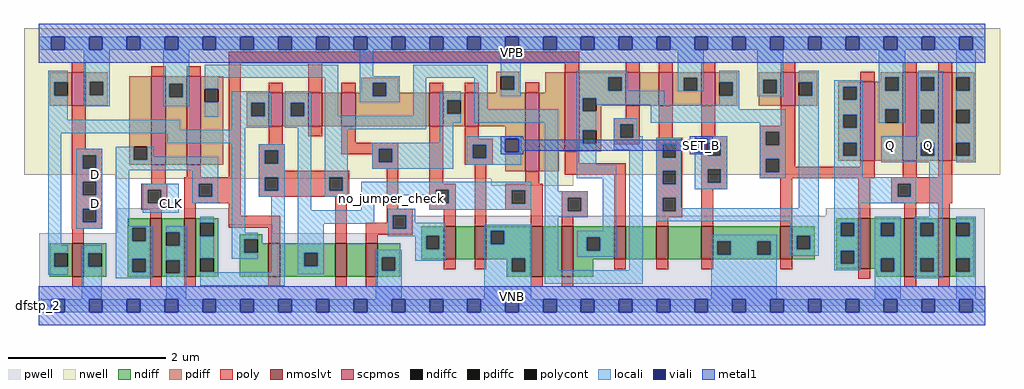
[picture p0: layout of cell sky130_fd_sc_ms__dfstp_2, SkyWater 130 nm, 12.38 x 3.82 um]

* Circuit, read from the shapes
.subckt sky130_fd_sc_ms__dfstp_2 CLK D SET_B VGND VNB VPB VPWR Q
XM1 VGND D n1 VNB sky130_fd_pr__nfet_01v8_lvt w=0.42 l=0.15
XM2 VGND CLK n2 VNB sky130_fd_pr__nfet_01v8_lvt w=0.74 l=0.15
XM3 n3 n2 VGND VNB sky130_fd_pr__nfet_01v8_lvt w=0.74 l=0.15
XM4 n4 n2 n1 VNB sky130_fd_pr__nfet_01v8_lvt w=0.42 l=0.15
XM5 n5 n3 n4 VNB sky130_fd_pr__nfet_01v8_lvt w=0.42 l=0.15
XM6 VGND n6 n5 VNB sky130_fd_pr__nfet_01v8_lvt w=0.42 l=0.15
XM7 n7 n4 n6 VNB sky130_fd_pr__nfet_01v8_lvt w=0.42 l=0.15
XM8 VGND SET_B n7 VNB sky130_fd_pr__nfet_01v8_lvt w=0.42 l=0.15
XM9 n8 n4 VGND VNB sky130_fd_pr__nfet_01v8_lvt w=0.64 l=0.15
XM10 n9 n3 n8 VNB sky130_fd_pr__nfet_01v8_lvt w=0.64 l=0.15
XM11 n10 n2 n9 VNB sky130_fd_pr__nfet_01v8_lvt w=0.42 l=0.15
XM12 n11 n12 n10 VNB sky130_fd_pr__nfet_01v8_lvt w=0.42 l=0.15
XM13 VGND SET_B n11 VNB sky130_fd_pr__nfet_01v8_lvt w=0.42 l=0.15
XM14 n12 n9 VGND VNB sky130_fd_pr__nfet_01v8_lvt w=0.42 l=0.15
XM15 VGND n9 n13 VNB sky130_fd_pr__nfet_01v8_lvt w=0.64 l=0.15
XM16 Q n13 VGND VNB sky130_fd_pr__nfet_01v8_lvt w=0.74 l=0.15 m=2
XM17 VPWR D n1 VPB sky130_fd_pr__pfet_01v8 w=0.42 l=0.18
XM18 VPWR CLK n2 VPB sky130_fd_pr__pfet_01v8 w=1.12 l=0.18
XM19 n3 n2 VPWR VPB sky130_fd_pr__pfet_01v8 w=1.12 l=0.18
XM20 n4 n3 n1 VPB sky130_fd_pr__pfet_01v8 w=0.42 l=0.18
XM21 n14 n2 n4 VPB sky130_fd_pr__pfet_01v8 w=0.42 l=0.18
XM22 VPWR n6 n14 VPB sky130_fd_pr__pfet_01v8 w=0.42 l=0.18
XM23 n6 n4 VPWR VPB sky130_fd_pr__pfet_01v8 w=0.42 l=0.18
XM24 VPWR SET_B n6 VPB sky130_fd_pr__pfet_01v8 w=0.42 l=0.18
XM25 n15 n4 VPWR VPB sky130_fd_pr__pfet_01v8 w=1 l=0.18
XM26 n9 n2 n15 VPB sky130_fd_pr__pfet_01v8 w=1 l=0.18
XM27 n16 n3 n9 VPB sky130_fd_pr__pfet_01v8 w=0.42 l=0.18
XM28 VPWR n12 n16 VPB sky130_fd_pr__pfet_01v8 w=0.42 l=0.18
XM29 n9 SET_B VPWR VPB sky130_fd_pr__pfet_01v8 w=0.42 l=0.18
XM30 n12 n9 VPWR VPB sky130_fd_pr__pfet_01v8 w=0.42 l=0.18
XM31 VPWR n9 n13 VPB sky130_fd_pr__pfet_01v8 w=1 l=0.18
XM32 Q n13 VPWR VPB sky130_fd_pr__pfet_01v8 w=1.12 l=0.18 m=2
.ends

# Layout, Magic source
magic
tech sky130A
magscale 1 2
<< nwell >>
rect -38 332 2438 704
rect 193 322 1355 332
rect 1147 305 1355 322
<< pwell >>
rect 199 207 481 248
rect 1996 228 2399 248
rect 199 184 593 207
rect 944 184 2399 228
rect 1 49 2399 184
rect 0 0 2400 49
<< scpmos >>
rect 83 508 119 592
rect 285 358 321 582
rect 375 358 411 582
rect 583 456 619 540
rect 683 456 719 540
rect 767 456 803 540
rect 990 456 1026 540
rect 1080 456 1116 540
rect 1233 341 1269 541
rect 1334 392 1370 592
rect 1488 508 1524 592
rect 1572 508 1608 592
rect 1680 508 1716 592
rect 1882 508 1918 592
rect 2084 368 2120 568
rect 2191 368 2227 592
rect 2281 368 2317 592
<< nmoslvt >>
rect 84 74 114 158
rect 282 74 312 222
rect 368 74 398 222
rect 582 74 612 158
rect 751 74 781 158
rect 829 74 859 158
rect 1027 118 1057 202
rect 1105 118 1135 202
rect 1248 74 1278 202
rect 1326 74 1356 202
rect 1459 118 1489 202
rect 1566 118 1596 202
rect 1680 118 1710 202
rect 1881 118 1911 202
rect 2079 94 2109 222
rect 2195 74 2225 222
rect 2281 74 2311 222
<< ndiff >>
rect 225 198 282 222
rect 225 164 237 198
rect 271 164 282 198
rect 27 133 84 158
rect 27 99 39 133
rect 73 99 84 133
rect 27 74 84 99
rect 114 133 171 158
rect 114 99 125 133
rect 159 99 171 133
rect 114 74 171 99
rect 225 119 282 164
rect 225 85 237 119
rect 271 85 282 119
rect 225 74 282 85
rect 312 186 368 222
rect 312 152 323 186
rect 357 152 368 186
rect 312 116 368 152
rect 312 82 323 116
rect 357 82 368 116
rect 312 74 368 82
rect 398 210 455 222
rect 398 176 409 210
rect 443 176 455 210
rect 398 120 455 176
rect 398 86 409 120
rect 443 86 455 120
rect 398 74 455 86
rect 509 169 567 181
rect 509 135 521 169
rect 555 158 567 169
rect 2022 210 2079 222
rect 970 177 1027 202
rect 555 135 582 158
rect 509 74 582 135
rect 612 134 751 158
rect 612 100 673 134
rect 707 100 751 134
rect 612 74 751 100
rect 781 74 829 158
rect 859 123 916 158
rect 859 89 870 123
rect 904 89 916 123
rect 970 143 982 177
rect 1016 143 1027 177
rect 970 118 1027 143
rect 1057 118 1105 202
rect 1135 190 1248 202
rect 1135 156 1146 190
rect 1180 156 1248 190
rect 1135 120 1248 156
rect 1135 118 1199 120
rect 859 74 916 89
rect 1187 86 1199 118
rect 1233 86 1248 120
rect 1187 74 1248 86
rect 1278 74 1326 202
rect 1356 174 1459 202
rect 1356 140 1390 174
rect 1424 140 1459 174
rect 1356 118 1459 140
rect 1489 118 1566 202
rect 1596 118 1680 202
rect 1710 164 1881 202
rect 1710 130 1721 164
rect 1755 130 1822 164
rect 1856 130 1881 164
rect 1710 118 1881 130
rect 1911 177 1968 202
rect 1911 143 1922 177
rect 1956 143 1968 177
rect 1911 118 1968 143
rect 2022 176 2034 210
rect 2068 176 2079 210
rect 2022 140 2079 176
rect 1356 74 1406 118
rect 2022 106 2034 140
rect 2068 106 2079 140
rect 2022 94 2079 106
rect 2109 210 2195 222
rect 2109 176 2136 210
rect 2170 176 2195 210
rect 2109 120 2195 176
rect 2109 94 2136 120
rect 2124 86 2136 94
rect 2170 86 2195 120
rect 2124 74 2195 86
rect 2225 210 2281 222
rect 2225 176 2236 210
rect 2270 176 2281 210
rect 2225 120 2281 176
rect 2225 86 2236 120
rect 2270 86 2281 120
rect 2225 74 2281 86
rect 2311 210 2373 222
rect 2311 176 2327 210
rect 2361 176 2373 210
rect 2311 120 2373 176
rect 2311 86 2327 120
rect 2361 86 2373 120
rect 2311 74 2373 86
<< pdiff >>
rect 27 567 83 592
rect 27 533 39 567
rect 73 533 83 567
rect 27 508 83 533
rect 119 568 175 592
rect 119 534 129 568
rect 163 534 175 568
rect 119 508 175 534
rect 229 404 285 582
rect 229 370 241 404
rect 275 370 285 404
rect 229 358 285 370
rect 321 563 375 582
rect 321 529 331 563
rect 365 529 375 563
rect 321 358 375 529
rect 411 550 467 582
rect 411 516 421 550
rect 455 516 467 550
rect 411 358 467 516
rect 1160 582 1218 594
rect 818 566 911 578
rect 818 540 847 566
rect 527 515 583 540
rect 527 481 539 515
rect 573 481 583 515
rect 527 456 583 481
rect 619 515 683 540
rect 619 481 639 515
rect 673 481 683 515
rect 619 456 683 481
rect 719 456 767 540
rect 803 532 847 540
rect 881 540 911 566
rect 1160 548 1172 582
rect 1206 548 1218 582
rect 1160 541 1218 548
rect 1284 541 1334 592
rect 1160 540 1233 541
rect 881 532 990 540
rect 803 456 990 532
rect 1026 521 1080 540
rect 1026 487 1036 521
rect 1070 487 1080 521
rect 1026 456 1080 487
rect 1116 456 1233 540
rect 1183 341 1233 456
rect 1269 392 1334 541
rect 1370 580 1488 592
rect 1370 546 1444 580
rect 1478 546 1488 580
rect 1370 527 1488 546
rect 1370 493 1380 527
rect 1414 508 1488 527
rect 1524 508 1572 592
rect 1608 579 1680 592
rect 1608 545 1636 579
rect 1670 545 1680 579
rect 1608 508 1680 545
rect 1716 567 1772 592
rect 1716 533 1726 567
rect 1760 533 1772 567
rect 1716 508 1772 533
rect 1826 573 1882 592
rect 1826 539 1838 573
rect 1872 539 1882 573
rect 1826 508 1882 539
rect 1918 567 1974 592
rect 2135 580 2191 592
rect 2135 568 2147 580
rect 1918 533 1928 567
rect 1962 533 1974 567
rect 1918 508 1974 533
rect 2028 556 2084 568
rect 2028 522 2040 556
rect 2074 522 2084 556
rect 1414 493 1426 508
rect 1370 445 1426 493
rect 1370 411 1380 445
rect 1414 411 1426 445
rect 1370 392 1426 411
rect 1269 341 1319 392
rect 2028 485 2084 522
rect 2028 451 2040 485
rect 2074 451 2084 485
rect 2028 414 2084 451
rect 2028 380 2040 414
rect 2074 380 2084 414
rect 2028 368 2084 380
rect 2120 546 2147 568
rect 2181 546 2191 580
rect 2120 498 2191 546
rect 2120 464 2147 498
rect 2181 464 2191 498
rect 2120 368 2191 464
rect 2227 580 2281 592
rect 2227 546 2237 580
rect 2271 546 2281 580
rect 2227 497 2281 546
rect 2227 463 2237 497
rect 2271 463 2281 497
rect 2227 414 2281 463
rect 2227 380 2237 414
rect 2271 380 2281 414
rect 2227 368 2281 380
rect 2317 580 2373 592
rect 2317 546 2327 580
rect 2361 546 2373 580
rect 2317 497 2373 546
rect 2317 463 2327 497
rect 2361 463 2373 497
rect 2317 414 2373 463
rect 2317 380 2327 414
rect 2361 380 2373 414
rect 2317 368 2373 380
<< ndiffc >>
rect 237 164 271 198
rect 39 99 73 133
rect 125 99 159 133
rect 237 85 271 119
rect 323 152 357 186
rect 323 82 357 116
rect 409 176 443 210
rect 409 86 443 120
rect 521 135 555 169
rect 673 100 707 134
rect 870 89 904 123
rect 982 143 1016 177
rect 1146 156 1180 190
rect 1199 86 1233 120
rect 1390 140 1424 174
rect 1721 130 1755 164
rect 1822 130 1856 164
rect 1922 143 1956 177
rect 2034 176 2068 210
rect 2034 106 2068 140
rect 2136 176 2170 210
rect 2136 86 2170 120
rect 2236 176 2270 210
rect 2236 86 2270 120
rect 2327 176 2361 210
rect 2327 86 2361 120
<< pdiffc >>
rect 39 533 73 567
rect 129 534 163 568
rect 241 370 275 404
rect 331 529 365 563
rect 421 516 455 550
rect 539 481 573 515
rect 639 481 673 515
rect 847 532 881 566
rect 1172 548 1206 582
rect 1036 487 1070 521
rect 1444 546 1478 580
rect 1380 493 1414 527
rect 1636 545 1670 579
rect 1726 533 1760 567
rect 1838 539 1872 573
rect 1928 533 1962 567
rect 2040 522 2074 556
rect 1380 411 1414 445
rect 2040 451 2074 485
rect 2040 380 2074 414
rect 2147 546 2181 580
rect 2147 464 2181 498
rect 2237 546 2271 580
rect 2237 463 2271 497
rect 2237 380 2271 414
rect 2327 546 2361 580
rect 2327 463 2361 497
rect 2327 380 2361 414
<< poly >>
rect 83 592 119 618
rect 482 615 1370 645
rect 285 582 321 608
rect 375 582 411 608
rect 83 398 119 508
rect 83 382 161 398
rect 83 348 111 382
rect 145 348 161 382
rect 83 314 161 348
rect 83 280 111 314
rect 145 280 161 314
rect 285 310 321 358
rect 375 326 411 358
rect 482 326 512 615
rect 583 540 619 566
rect 683 540 719 615
rect 1334 592 1370 615
rect 1488 592 1524 618
rect 1572 592 1608 618
rect 1680 592 1716 618
rect 1882 592 1918 618
rect 767 540 803 566
rect 990 540 1026 566
rect 1080 540 1116 566
rect 1233 541 1269 567
rect 583 410 619 456
rect 683 430 719 456
rect 767 414 803 456
rect 368 310 512 326
rect 83 246 161 280
rect 83 212 111 246
rect 145 212 161 246
rect 260 294 326 310
rect 260 260 276 294
rect 310 260 326 294
rect 260 244 326 260
rect 368 276 405 310
rect 439 276 512 310
rect 557 394 623 410
rect 557 360 573 394
rect 607 360 623 394
rect 767 398 912 414
rect 767 384 862 398
rect 557 342 623 360
rect 846 364 862 384
rect 896 364 912 398
rect 846 348 912 364
rect 557 326 787 342
rect 557 292 573 326
rect 607 292 737 326
rect 771 292 787 326
rect 557 276 787 292
rect 368 260 512 276
rect 282 222 312 244
rect 368 222 398 260
rect 482 228 512 260
rect 83 196 161 212
rect 84 158 114 196
rect 482 198 612 228
rect 582 158 612 198
rect 751 158 781 276
rect 882 246 912 348
rect 990 310 1026 456
rect 1080 424 1116 456
rect 1080 408 1151 424
rect 1080 374 1101 408
rect 1135 374 1151 408
rect 1080 358 1151 374
rect 990 294 1057 310
rect 990 260 1006 294
rect 1040 260 1057 294
rect 882 230 948 246
rect 990 244 1057 260
rect 882 210 898 230
rect 829 196 898 210
rect 932 196 948 230
rect 1027 202 1057 244
rect 1105 202 1135 358
rect 2084 568 2120 594
rect 2191 592 2227 618
rect 2281 592 2317 618
rect 1488 476 1524 508
rect 1458 460 1524 476
rect 1458 426 1474 460
rect 1508 426 1524 460
rect 1572 426 1608 508
rect 1680 430 1716 508
rect 1882 457 1918 508
rect 1828 441 1918 457
rect 1458 410 1524 426
rect 1566 410 1632 426
rect 1334 362 1370 392
rect 1566 376 1582 410
rect 1616 376 1632 410
rect 1233 309 1269 341
rect 1334 332 1489 362
rect 1183 293 1278 309
rect 1183 259 1199 293
rect 1233 259 1278 293
rect 1183 243 1278 259
rect 1248 202 1278 243
rect 1326 274 1392 290
rect 1326 240 1342 274
rect 1376 240 1392 274
rect 1326 224 1392 240
rect 1326 202 1356 224
rect 1459 202 1489 332
rect 1566 342 1632 376
rect 1566 308 1582 342
rect 1616 308 1632 342
rect 1566 274 1632 308
rect 1566 240 1582 274
rect 1616 240 1632 274
rect 1566 224 1632 240
rect 1680 414 1746 430
rect 1680 380 1696 414
rect 1730 380 1746 414
rect 1680 346 1746 380
rect 1680 312 1696 346
rect 1730 312 1746 346
rect 1828 407 1844 441
rect 1878 407 1918 441
rect 1828 373 1918 407
rect 1828 339 1844 373
rect 1878 353 1918 373
rect 2084 353 2120 368
rect 1878 339 2120 353
rect 1828 323 2120 339
rect 2191 326 2227 368
rect 2281 326 2317 368
rect 1680 296 1746 312
rect 1566 202 1596 224
rect 1680 202 1710 296
rect 1881 202 1911 323
rect 2079 222 2109 323
rect 2162 310 2317 326
rect 2162 276 2178 310
rect 2212 276 2317 310
rect 2162 260 2317 276
rect 2195 222 2225 260
rect 2281 222 2311 260
rect 829 180 948 196
rect 829 158 859 180
rect 1027 92 1057 118
rect 1105 92 1135 118
rect 1459 92 1489 118
rect 1566 92 1596 118
rect 1680 92 1710 118
rect 1881 92 1911 118
rect 84 48 114 74
rect 282 48 312 74
rect 368 48 398 74
rect 582 48 612 74
rect 751 48 781 74
rect 829 48 859 74
rect 1248 48 1278 74
rect 1326 48 1356 74
rect 2079 68 2109 94
rect 2195 48 2225 74
rect 2281 48 2311 74
<< polycont >>
rect 111 348 145 382
rect 111 280 145 314
rect 111 212 145 246
rect 276 260 310 294
rect 405 276 439 310
rect 573 360 607 394
rect 862 364 896 398
rect 573 292 607 326
rect 737 292 771 326
rect 1101 374 1135 408
rect 1006 260 1040 294
rect 898 196 932 230
rect 1474 426 1508 460
rect 1582 376 1616 410
rect 1199 259 1233 293
rect 1342 240 1376 274
rect 1582 308 1616 342
rect 1582 240 1616 274
rect 1696 380 1730 414
rect 1696 312 1730 346
rect 1844 407 1878 441
rect 1844 339 1878 373
rect 2178 276 2212 310
<< locali >>
rect 0 649 31 683
rect 65 649 127 683
rect 161 649 223 683
rect 257 649 319 683
rect 353 649 415 683
rect 449 649 511 683
rect 545 649 607 683
rect 641 649 703 683
rect 737 649 799 683
rect 833 649 895 683
rect 929 649 991 683
rect 1025 649 1087 683
rect 1121 649 1183 683
rect 1217 649 1279 683
rect 1313 649 1375 683
rect 1409 649 1471 683
rect 1505 649 1567 683
rect 1601 649 1663 683
rect 1697 649 1759 683
rect 1793 649 1855 683
rect 1889 649 1951 683
rect 1985 649 2047 683
rect 2081 649 2143 683
rect 2177 649 2239 683
rect 2273 649 2335 683
rect 2369 649 2400 683
rect 23 567 73 596
rect 23 533 39 567
rect 23 472 73 533
rect 113 568 179 649
rect 113 534 129 568
rect 163 534 179 568
rect 113 506 179 534
rect 315 563 381 649
rect 315 529 331 563
rect 365 529 381 563
rect 315 506 381 529
rect 421 578 759 612
rect 421 550 455 578
rect 421 480 455 516
rect 489 515 589 544
rect 489 481 539 515
rect 573 481 589 515
rect 23 446 359 472
rect 489 452 589 481
rect 623 515 691 544
rect 623 481 639 515
rect 673 481 691 515
rect 623 452 691 481
rect 489 446 523 452
rect 23 438 523 446
rect 23 153 57 438
rect 325 412 523 438
rect 95 382 161 398
rect 95 348 111 382
rect 145 348 161 382
rect 95 314 161 348
rect 95 280 111 314
rect 145 280 161 314
rect 95 246 161 280
rect 95 212 111 246
rect 145 212 161 246
rect 95 196 161 212
rect 195 370 241 404
rect 275 378 291 404
rect 275 370 455 378
rect 195 344 455 370
rect 195 202 229 344
rect 389 310 455 344
rect 263 294 355 310
rect 263 260 276 294
rect 310 260 355 294
rect 389 276 405 310
rect 439 276 455 310
rect 389 260 455 276
rect 263 236 355 260
rect 409 210 443 226
rect 195 198 287 202
rect 195 164 237 198
rect 271 164 287 198
rect 23 133 73 153
rect 23 99 39 133
rect 23 79 73 99
rect 109 133 159 153
rect 109 99 125 133
rect 109 17 159 99
rect 195 119 287 164
rect 195 85 237 119
rect 271 85 287 119
rect 195 70 287 85
rect 323 186 373 202
rect 357 152 373 186
rect 323 116 373 152
rect 357 82 373 116
rect 323 17 373 82
rect 409 120 443 176
rect 489 185 523 412
rect 557 394 623 410
rect 557 360 573 394
rect 607 360 623 394
rect 557 326 623 360
rect 557 292 573 326
rect 607 292 623 326
rect 557 276 623 292
rect 489 169 555 185
rect 489 135 521 169
rect 489 119 555 135
rect 409 85 443 86
rect 589 85 623 276
rect 409 51 623 85
rect 657 242 691 452
rect 725 482 759 578
rect 814 582 848 649
rect 814 566 915 582
rect 814 532 847 566
rect 881 532 915 566
rect 814 516 915 532
rect 949 578 1138 612
rect 949 482 983 578
rect 725 448 983 482
rect 1017 521 1070 544
rect 1017 487 1036 521
rect 1017 464 1070 487
rect 1104 498 1138 578
rect 1172 582 1222 649
rect 1206 548 1222 582
rect 1172 532 1222 548
rect 1364 580 1494 596
rect 1364 546 1444 580
rect 1478 546 1494 580
rect 1620 579 1686 649
rect 1364 527 1586 546
rect 1620 545 1636 579
rect 1670 545 1686 579
rect 1620 544 1686 545
rect 1726 567 1776 596
rect 1104 464 1317 498
rect 725 326 783 448
rect 1017 414 1051 464
rect 846 398 1051 414
rect 846 364 862 398
rect 896 364 1051 398
rect 846 348 1051 364
rect 1085 424 1223 430
rect 1085 408 1183 424
rect 1085 374 1101 408
rect 1135 390 1183 408
rect 1217 390 1223 424
rect 1135 374 1223 390
rect 1085 358 1223 374
rect 725 292 737 326
rect 771 292 783 326
rect 725 276 783 292
rect 817 294 1249 314
rect 817 280 1006 294
rect 817 242 851 280
rect 990 260 1006 280
rect 1040 293 1249 294
rect 1040 260 1199 293
rect 990 259 1199 260
rect 1233 259 1249 293
rect 657 208 851 242
rect 885 230 954 246
rect 990 244 1249 259
rect 1183 243 1249 244
rect 1283 290 1317 464
rect 1364 493 1380 527
rect 1414 510 1586 527
rect 1760 533 1776 567
rect 1726 510 1776 533
rect 1822 573 1888 649
rect 1822 539 1838 573
rect 1872 539 1888 573
rect 1822 532 1888 539
rect 1928 567 1978 596
rect 2131 580 2197 649
rect 1962 533 1978 567
rect 1364 445 1414 493
rect 1552 498 1776 510
rect 1364 411 1380 445
rect 1364 358 1414 411
rect 1458 460 1518 476
rect 1552 464 1894 498
rect 1458 426 1474 460
rect 1508 430 1518 460
rect 1828 441 1894 464
rect 1508 426 1532 430
rect 1458 396 1532 426
rect 1364 324 1464 358
rect 1283 274 1392 290
rect 657 134 723 208
rect 885 196 898 230
rect 932 210 954 230
rect 1283 240 1342 274
rect 1376 240 1392 274
rect 1283 224 1392 240
rect 932 196 1032 210
rect 885 177 1032 196
rect 885 176 982 177
rect 954 143 982 176
rect 1016 143 1032 177
rect 657 100 673 134
rect 707 100 723 134
rect 657 80 723 100
rect 854 123 920 142
rect 854 89 870 123
rect 904 89 920 123
rect 954 114 1032 143
rect 1130 190 1249 206
rect 1130 156 1146 190
rect 1180 156 1249 190
rect 1130 120 1249 156
rect 854 17 920 89
rect 1130 86 1199 120
rect 1233 86 1249 120
rect 1130 17 1249 86
rect 1283 90 1317 224
rect 1430 190 1464 324
rect 1365 174 1464 190
rect 1365 140 1390 174
rect 1424 140 1464 174
rect 1365 124 1464 140
rect 1498 90 1532 396
rect 1566 410 1629 426
rect 1566 376 1582 410
rect 1616 376 1629 410
rect 1566 342 1629 376
rect 1566 308 1582 342
rect 1616 308 1629 342
rect 1566 274 1629 308
rect 1663 424 1746 430
rect 1697 414 1746 424
rect 1663 380 1696 390
rect 1730 380 1746 414
rect 1663 346 1746 380
rect 1663 312 1696 346
rect 1730 312 1746 346
rect 1828 407 1844 441
rect 1878 407 1894 441
rect 1828 373 1894 407
rect 1828 339 1844 373
rect 1878 339 1894 373
rect 1828 323 1894 339
rect 1663 296 1746 312
rect 1566 240 1582 274
rect 1616 248 1629 274
rect 1928 248 1978 533
rect 1616 240 1978 248
rect 1566 214 1978 240
rect 1283 56 1532 90
rect 1705 164 1872 180
rect 1705 130 1721 164
rect 1755 130 1822 164
rect 1856 130 1872 164
rect 1705 17 1872 130
rect 1906 177 1978 214
rect 1906 143 1922 177
rect 1956 143 1978 177
rect 1906 127 1978 143
rect 2018 556 2090 572
rect 2018 522 2040 556
rect 2074 522 2090 556
rect 2018 485 2090 522
rect 2018 451 2040 485
rect 2074 451 2090 485
rect 2131 546 2147 580
rect 2181 546 2197 580
rect 2131 498 2197 546
rect 2131 464 2147 498
rect 2181 464 2197 498
rect 2231 580 2293 596
rect 2231 546 2237 580
rect 2271 546 2293 580
rect 2231 497 2293 546
rect 2018 414 2090 451
rect 2231 463 2237 497
rect 2271 463 2293 497
rect 2231 430 2293 463
rect 2018 380 2040 414
rect 2074 380 2090 414
rect 2018 326 2090 380
rect 2137 414 2293 430
rect 2137 380 2237 414
rect 2271 380 2293 414
rect 2137 364 2293 380
rect 2327 580 2377 649
rect 2361 546 2377 580
rect 2327 497 2377 546
rect 2361 463 2377 497
rect 2327 414 2377 463
rect 2361 380 2377 414
rect 2327 364 2377 380
rect 2018 310 2225 326
rect 2018 276 2178 310
rect 2212 276 2225 310
rect 2018 260 2225 276
rect 2018 210 2084 260
rect 2259 226 2293 364
rect 2018 176 2034 210
rect 2068 176 2084 210
rect 2018 140 2084 176
rect 2018 106 2034 140
rect 2068 106 2084 140
rect 2018 90 2084 106
rect 2120 210 2186 226
rect 2120 176 2136 210
rect 2170 176 2186 210
rect 2120 120 2186 176
rect 2120 86 2136 120
rect 2170 86 2186 120
rect 2120 17 2186 86
rect 2220 210 2293 226
rect 2220 176 2236 210
rect 2270 176 2293 210
rect 2220 120 2293 176
rect 2220 86 2236 120
rect 2270 86 2293 120
rect 2220 70 2293 86
rect 2327 210 2377 226
rect 2361 176 2377 210
rect 2327 120 2377 176
rect 2361 86 2377 120
rect 2327 17 2377 86
rect 0 -17 31 17
rect 65 -17 127 17
rect 161 -17 223 17
rect 257 -17 319 17
rect 353 -17 415 17
rect 449 -17 511 17
rect 545 -17 607 17
rect 641 -17 703 17
rect 737 -17 799 17
rect 833 -17 895 17
rect 929 -17 991 17
rect 1025 -17 1087 17
rect 1121 -17 1183 17
rect 1217 -17 1279 17
rect 1313 -17 1375 17
rect 1409 -17 1471 17
rect 1505 -17 1567 17
rect 1601 -17 1663 17
rect 1697 -17 1759 17
rect 1793 -17 1855 17
rect 1889 -17 1951 17
rect 1985 -17 2047 17
rect 2081 -17 2143 17
rect 2177 -17 2239 17
rect 2273 -17 2335 17
rect 2369 -17 2400 17
<< viali >>
rect 31 649 65 683
rect 127 649 161 683
rect 223 649 257 683
rect 319 649 353 683
rect 415 649 449 683
rect 511 649 545 683
rect 607 649 641 683
rect 703 649 737 683
rect 799 649 833 683
rect 895 649 929 683
rect 991 649 1025 683
rect 1087 649 1121 683
rect 1183 649 1217 683
rect 1279 649 1313 683
rect 1375 649 1409 683
rect 1471 649 1505 683
rect 1567 649 1601 683
rect 1663 649 1697 683
rect 1759 649 1793 683
rect 1855 649 1889 683
rect 1951 649 1985 683
rect 2047 649 2081 683
rect 2143 649 2177 683
rect 2239 649 2273 683
rect 2335 649 2369 683
rect 1183 390 1217 424
rect 1663 414 1697 424
rect 1663 390 1696 414
rect 1696 390 1697 414
rect 31 -17 65 17
rect 127 -17 161 17
rect 223 -17 257 17
rect 319 -17 353 17
rect 415 -17 449 17
rect 511 -17 545 17
rect 607 -17 641 17
rect 703 -17 737 17
rect 799 -17 833 17
rect 895 -17 929 17
rect 991 -17 1025 17
rect 1087 -17 1121 17
rect 1183 -17 1217 17
rect 1279 -17 1313 17
rect 1375 -17 1409 17
rect 1471 -17 1505 17
rect 1567 -17 1601 17
rect 1663 -17 1697 17
rect 1759 -17 1793 17
rect 1855 -17 1889 17
rect 1951 -17 1985 17
rect 2047 -17 2081 17
rect 2143 -17 2177 17
rect 2239 -17 2273 17
rect 2335 -17 2369 17
<< metal1 >>
rect 0 683 2400 715
rect 0 649 31 683
rect 65 649 127 683
rect 161 649 223 683
rect 257 649 319 683
rect 353 649 415 683
rect 449 649 511 683
rect 545 649 607 683
rect 641 649 703 683
rect 737 649 799 683
rect 833 649 895 683
rect 929 649 991 683
rect 1025 649 1087 683
rect 1121 649 1183 683
rect 1217 649 1279 683
rect 1313 649 1375 683
rect 1409 649 1471 683
rect 1505 649 1567 683
rect 1601 649 1663 683
rect 1697 649 1759 683
rect 1793 649 1855 683
rect 1889 649 1951 683
rect 1985 649 2047 683
rect 2081 649 2143 683
rect 2177 649 2239 683
rect 2273 649 2335 683
rect 2369 649 2400 683
rect 0 617 2400 649
rect 1171 424 1229 430
rect 1171 390 1183 424
rect 1217 421 1229 424
rect 1651 424 1709 430
rect 1651 421 1663 424
rect 1217 393 1663 421
rect 1217 390 1229 393
rect 1171 384 1229 390
rect 1651 390 1663 393
rect 1697 390 1709 424
rect 1651 384 1709 390
rect 0 17 2400 49
rect 0 -17 31 17
rect 65 -17 127 17
rect 161 -17 223 17
rect 257 -17 319 17
rect 353 -17 415 17
rect 449 -17 511 17
rect 545 -17 607 17
rect 641 -17 703 17
rect 737 -17 799 17
rect 833 -17 895 17
rect 929 -17 991 17
rect 1025 -17 1087 17
rect 1121 -17 1183 17
rect 1217 -17 1279 17
rect 1313 -17 1375 17
rect 1409 -17 1471 17
rect 1505 -17 1567 17
rect 1601 -17 1663 17
rect 1697 -17 1759 17
rect 1793 -17 1855 17
rect 1889 -17 1951 17
rect 1985 -17 2047 17
rect 2081 -17 2143 17
rect 2177 -17 2239 17
rect 2273 -17 2335 17
rect 2369 -17 2400 17
rect 0 -49 2400 -17
<< labels >>
flabel pwell s 0 0 2400 49 0 FreeSans 200 0 0 0 VNB
port 5 nsew ground bidirectional
flabel nwell s 0 617 2400 666 0 FreeSans 200 0 0 0 VPB
port 6 nsew power bidirectional
rlabel comment s 0 0 0 0 4 dfstp_2
flabel comment s 895 272 895 272 0 FreeSans 200 0 0 0 no_jumper_check
flabel comment s 701 306 701 306 0 FreeSans 200 0 0 0 no_jumper_check
flabel metal1 s 1663 390 1697 424 0 FreeSans 340 0 0 0 SET_B
port 3 nsew signal input
flabel metal1 s 0 617 2400 666 0 FreeSans 340 0 0 0 VPWR
port 7 nsew power bidirectional
flabel metal1 s 0 0 2400 49 0 FreeSans 340 0 0 0 VGND
port 4 nsew ground bidirectional
flabel locali s 319 242 353 276 0 FreeSans 340 0 0 0 CLK
port 1 nsew clock input
flabel locali s 127 242 161 276 0 FreeSans 340 0 0 0 D
port 2 nsew signal input
flabel locali s 127 316 161 350 0 FreeSans 340 0 0 0 D
port 2 nsew signal input
flabel locali s 2143 390 2177 424 0 FreeSans 340 0 0 0 Q
port 8 nsew signal output
flabel locali s 2239 390 2273 424 0 FreeSans 340 0 0 0 Q
port 8 nsew signal output
<< properties >>
string LEFsite unit
string LEFclass CORE
string FIXED_BBOX 0 0 2400 666
string GDS_FILE $PDKPATH/libs.ref/sky130_fd_sc_ms/gds/sky130_fd_sc_ms.gds
string LEFsymmetry X Y
string GDS_END 218984
string GDS_START 202424
<< end >>
